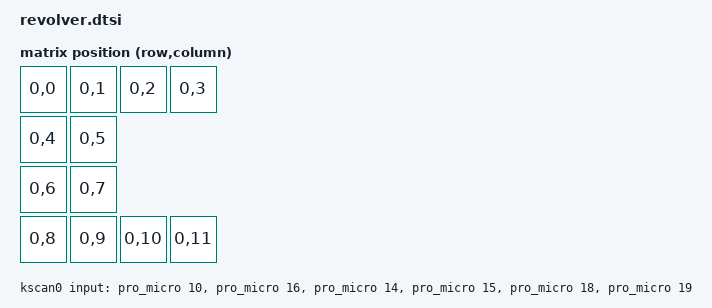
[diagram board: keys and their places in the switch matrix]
// based on https://github.com/zmkfirmware/zmk/blob/main/app/boards/shields/cradio/cradio.dtsi

#include <dt-bindings/zmk/matrix_transform.h>

// | SW00 | SW01 | SW02 | SW03 | | SW06 | SW07 | SW08 | SW09 |
// | SW04 | SW05 |                             | SW10 | SW11 |

/ {
    chosen {
        zmk,kscan = &kscan0;
		zmk,matrix-transform = &default_transform;
    };

    default_transform: keymap_transform_0 {
        compatible = "zmk,matrix-transform";
        columns = <12>;
        rows = <1>;
        map = <
			RC(0,0)  RC(0,1)  RC(0,2)  RC(0,3)			
			RC(0,4)  RC(0,5)  											  
			RC(0,6) RC(0,7)
			RC(0,8) RC(0,9) RC(0,10) RC(0,11)
        >;
    };

    kscan0: kscan {
        compatible = "zmk,kscan-gpio-direct";
        wakeup-source;

        input-gpios
        = <&pro_micro 10 (GPIO_ACTIVE_LOW | GPIO_PULL_UP)> //nice!nano 009
        , <&pro_micro 16 (GPIO_ACTIVE_LOW | GPIO_PULL_UP)> //nice!nano 010
        , <&pro_micro 14 (GPIO_ACTIVE_LOW | GPIO_PULL_UP)> //nice!nano 111
        , <&pro_micro 15 (GPIO_ACTIVE_LOW | GPIO_PULL_UP)> //nice!nano 113
        , <&pro_micro 18 (GPIO_ACTIVE_LOW | GPIO_PULL_UP)> //nice!nano 115
        , <&pro_micro 19 (GPIO_ACTIVE_LOW | GPIO_PULL_UP)> //nice!nano 002
        ;
    };

};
